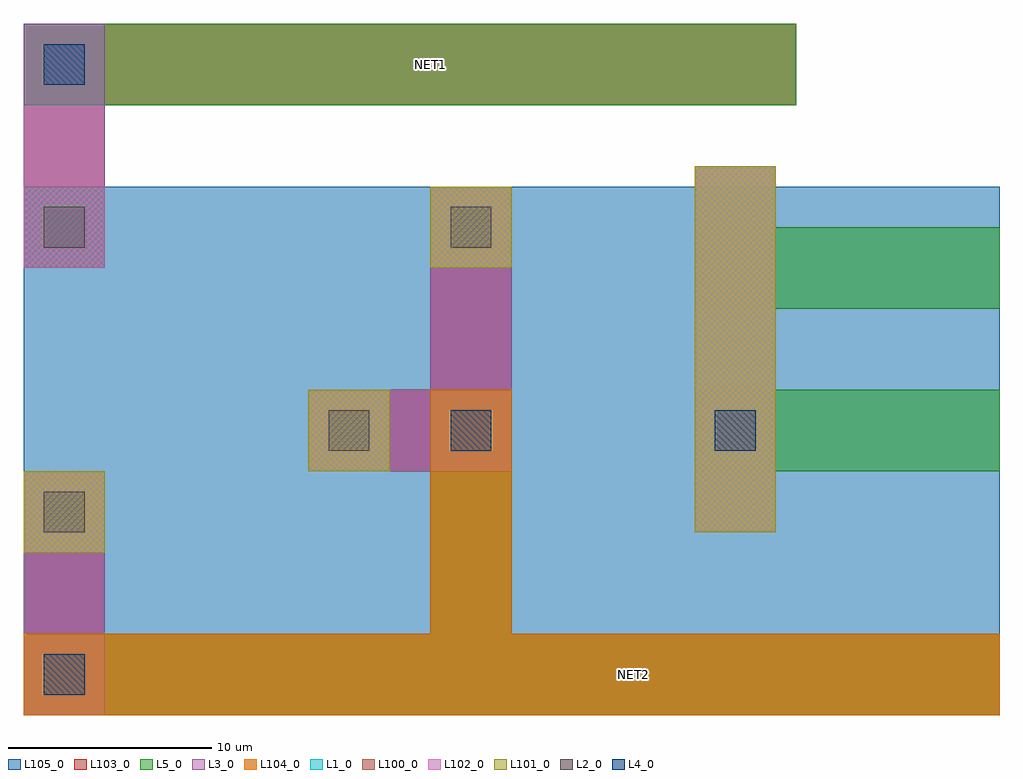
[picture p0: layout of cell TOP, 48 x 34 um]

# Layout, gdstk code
import gdstk
lib = gdstk.Library(unit=1e-6, precision=1e-09)
def R(c, l, rs):  # rectangles x0, y0, x1, y1
    for r in rs: c.add(gdstk.rectangle(r[:2], r[2:], *l))
def P(c, l, *ps):  # polygons
    for p in ps: c.add(gdstk.Polygon(p, *l))
L1_0 = (1, 0)
L2_0 = (2, 0)
L3_0 = (3, 0)
L4_0 = (4, 0)
L5_0 = (5, 0)
L100_0 = (100, 0)
L101_0 = (101, 0)
L102_0 = (102, 0)
L103_0 = (103, 0)
L104_0 = (104, 0)
L105_0 = (105, 0)

c_a = lib.new_cell('A')
R(c_a, L1_0, [(0,8,4,12)])
R(c_a, L2_0, [(1,9,3,11)])
R(c_a, L3_0, [(0,0,4,12)])
R(c_a, L4_0, [(1,1,3,3)])
R(c_a, L5_0, [(0,0,38,4)])
c_a.add(gdstk.Label('NET2', (16,2), layer=5, texttype=0))

top = lib.new_cell('TOP')
R(top, L1_0, [(25,-5,29,13), (6,-2,10,2), (12,8,16,12)])
R(top, L2_0, [(7,-1,9,1), (13,9,15,11)])
R(top, L3_0, [(25,-5,29,2), (6,-2,16,2), (12,-2,16,12), (25,6,29,13)])
R(top, L4_0, [(13,-1,15,1), (26,-1,28,1)])
R(top, L5_0, [(12,-14,16,2), (30,-14,40,-10), (25,-2,40,2), (25,6,40,10)])
R(top, L100_0, [(-8,-6,-4,-2), (25,-5,29,13), (6,-2,10,2), (-8,8,-4,12), (12,8,16,12)])
R(top, L101_0, [(-8,-6,-4,-2), (25,-5,29,13), (6,-2,10,2), (12,8,16,12)])
R(top, L102_0, [(-8,-6,-4,-2), (25,-5,29,13), (6,-2,10,2), (-8,8,-4,12), (12,8,16,12)])
R(top, L103_0, [(-8,-14,30,-10), (-8,-14,-4,-2), (12,-14,16,2), (30,-14,40,-10), (-7,-13,-5,-11), (-7,-5,-5,-3), (6,-2,16,2), (12,-2,16,12), (7,-1,9,1), (13,-1,15,1), (-8,8,-4,20), (-7,9,-5,11), (13,9,15,11), (-8,16,30,20), (-7,17,-5,19)])
P(top, L104_0, [(-8,-14),(-8,-10),(12,-10),(12,2),(16,2),(16,-10),(40,-10),(40,-14)])
R(top, L105_0, [(-8,-14,40,12)])
top.add(gdstk.Reference(c_a, (-8,-14)))
top.add(gdstk.Reference(c_a, (-8,20), x_reflection=True))
top.add(gdstk.Label('NET2', (22,-12), layer=5, texttype=0))
top.add(gdstk.Label('NET1', (12,18), layer=5, texttype=0))

lib.write_gds('TOP.gds')
